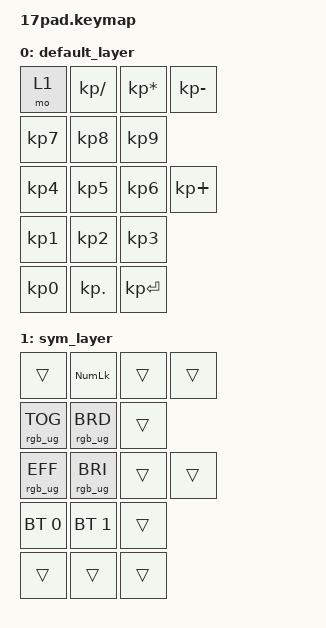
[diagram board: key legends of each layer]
/*
 * Copyright (c) 2020 The ZMK Contributors
 *
 * SPDX-License-Identifier: MIT
 */

// This key-map file WILL NOT WORK FOR YOU, you will need to modify it. I really do not recommend adapting to it.
// This key-map file is set-up to be the split space layout.
// I strongly urge you to customise your firmware to suit your usage.
// Please feel free to join the ZMK server at https://discord.gg/TdRMQaTYdF for help.

#include <behaviors.dtsi>
#include <dt-bindings/zmk/keys.h>
#include <dt-bindings/zmk/bt.h>

/ {

behaviors {
      hm: homerow_mods {
        compatible = "zmk,behavior-hold-tap";
        label = "HOMEROW_MODS";
        #binding-cells = <2>;
        tapping_term_ms = <300>;
        flavor = "tap-preferred";
        bindings = <&kp>, <&kp>;
    };

};
        keymap {
                compatible = "zmk,keymap";

                default_layer {
                        bindings = <
   &mo 1        &kp KP_DIVIDE   &kp KP_MULTIPLY   &kp KP_MINUS
   &kp KP_N7    &kp KP_N8       &kp KP_N9
   &kp KP_N4    &kp KP_N5       &kp KP_N6         &kp KP_PLUS
   &kp KP_N1    &kp KP_N2       &kp KP_N3
   &kp KP_N0    &kp KP_DOT      &kp KP_ENTER
                        >;
                };


                sym_layer {
                        bindings = <
    &trans &kp KP_NUM &trans &trans
    &rgb_ug RGB_TOG  &rgb_ug RGB_BRD &trans
    &rgb_ug RGB_EFF &rgb_ug RGB_BRI &trans &trans
    &bt BT_SEL 0  &bt BT_SEL 1 &trans
    &trans &trans &trans
                        >;
                };
        };
};
